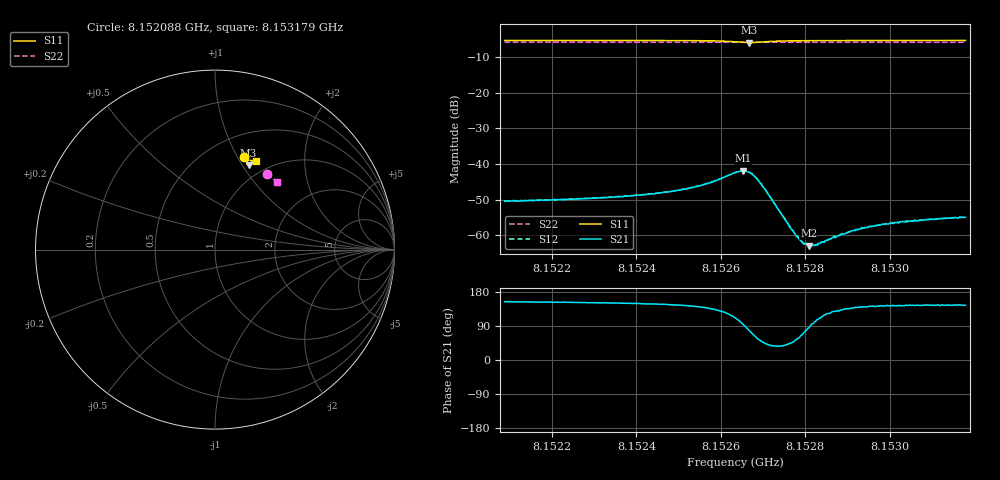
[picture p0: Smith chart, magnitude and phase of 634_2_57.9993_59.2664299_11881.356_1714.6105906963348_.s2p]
#  HZ  S  RI  R  50.00
! Rohde & Schwarz Vector Network Analyzer
! Rohde-Schwarz,ZNB20-2Port,1311601062101988,3.16
! Created: UTC 3/21/2024, 1:18:46 AM
! freq[Hz]  re:S11  im:S11  re:S21  im:S21  re:S12  im:S12  re:S22  im:S22
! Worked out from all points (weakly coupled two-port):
!   401 points, 8.152088 GHz to 8.153179 GHz, reference 50 ohm
!   highest |S21| = -41.94 dB at 8.152653 GHz (marker M1); lowest = -63.0 dB at 8.152808 GHz (marker M2)
!   lowest |S11| = -5.9 dB at 8.152666 GHz (marker M3), VSWR 3.04, Z = 42.3 + j53.3 ohm
!   |S11| at or under -10 dB: nowhere
!   |S22| runs from -5.9 to -5.8 dB; largest |S21 - S12| = 0.00015
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8.1520878e9  0.1632 0.5153  -0.00267 0.00132  -0.0027 0.00135  0.2911 0.4211
8.1522706e9  0.1765 0.511  -0.00285 0.00153  -0.00285 0.00161  0.3004 0.4142
8.1524535e9  0.1913 0.505  -0.00329 0.00212  -0.00323 0.00215  0.3098 0.407
8.152508e9  0.1964 0.502  -0.00354 0.00253  -0.00353 0.00261  0.3126 0.4049
8.1525517e9  0.2015 0.4981  -0.00381 0.00319  -0.00378 0.00329  0.3147 0.4029
8.152579e9  0.2045 0.4941  -0.00394 0.00391  -0.00393 0.00406  0.3161 0.4016
8.1526336e9  0.2056 0.4768  -0.00279 0.00699  -0.00275 0.00707  0.3183 0.3988
8.1526527e9  0.1971 0.4696  -0.000577 0.00798  -0.000541 0.00804  0.3188 0.398
8.1526663e9  0.1874 0.4694  0.00148 0.00751  0.00157 0.00757  0.3191 0.3976
8.15268e9  0.1797 0.4752  0.00299 0.00597  0.00306 0.00599  0.3196 0.3974
8.1526963e9  0.1768 0.4846  0.00333 0.00388  0.00341 0.00391  0.3204 0.3971
8.1527618e9  0.1895 0.4999  0.000977 0.000913  0.000995 0.000927  0.324 0.3949
8.1527809e9  0.1929 0.5005  0.000534 0.000786  0.000537 0.000789  0.3251 0.394
8.1527946e9  0.1951 0.5006  0.000263 0.000719  0.000305 0.000737  0.3259 0.3935
8.1528082e9  0.1968 0.5007  6.35e-05 0.000705  6.34e-05 0.000714  0.3265 0.393
8.1528164e9  0.198 0.5006  -6.79e-05 0.000706  -8.45e-05 0.000711  0.327 0.3927
8.15283e9  0.1996 0.5005  -0.000213 0.0007  -0.00022 0.000742  0.3275 0.3921
8.1528819e9  0.2052 0.4993  -0.000645 0.000751  -0.000653 0.000761  0.3303 0.3899
8.1529283e9  0.2095 0.4982  -0.000923 0.000794  -0.000921 0.00083  0.3326 0.388
8.1529992e9  0.2153 0.4963  -0.00117 0.000877  -0.00116 0.000869  0.336 0.3848
8.1530647e9  0.2202 0.4946  -0.00129 0.00092  -0.0013 0.000958  0.3391 0.3818
8.1531793e9  0.2284 0.4913  -0.00145 0.00104  -0.00145 0.00103  0.3445 0.377
